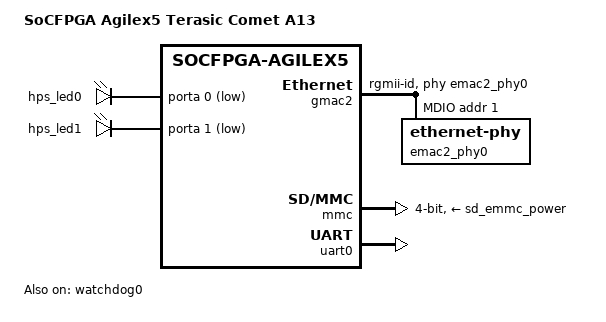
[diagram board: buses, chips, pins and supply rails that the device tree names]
// SPDX-License-Identifier: GPL-2.0-only
/*
 * Copyright (C) 2025, Altera Corporation
 */
#include "socfpga_agilex5.dtsi"

/ {
	model = "SoCFPGA Agilex5 Terasic Comet A13";
	compatible = "intel,socfpga-agilex5-socdk-013b", "intel,socfpga-agilex5";

	aliases {
		serial0 = &uart0;
		ethernet0 = &gmac2;
	};

	chosen {
		stdout-path = "serial0:115200n8";
	};

	leds {
		compatible = "gpio-leds";

		led0 {
			label = "hps_led0";
			gpios = <&porta 0 GPIO_ACTIVE_LOW>;
		};

		led1 {
			label = "hps_led1";
			gpios = <&porta 1 GPIO_ACTIVE_LOW>;
		};

	};

	memory@80000000 {
		device_type = "memory";
		/* We expect the bootloader to fill in the reg */
		reg = <0x0 0x80000000 0x0 0x0>;
	};
};

&gmac2 {
	status = "okay";
	phy-mode = "rgmii-id";
	phy-handle = <&emac2_phy0>;
	max-frame-size = <9000>;

	mdio0 {
		#address-cells = <1>;
		#size-cells = <0>;
		compatible = "snps,dwmac-mdio";

		emac2_phy0: ethernet-phy@0 {
			reg = <1>;
			rxc-skew-ps = <0>;
			rxdv-skew-ps = <0>;
			rxd0-skew-ps = <0>;
			rxd1-skew-ps = <0>;
			rxd2-skew-ps = <0>;
			rxd3-skew-ps = <0>;
			txc-skew-ps = <0>;
			txen-skew-ps = <60>;
			txd0-skew-ps = <60>;
			txd1-skew-ps = <60>;
			txd2-skew-ps = <60>;
			txd3-skew-ps = <60>;
		};
	};
};

&gpio0 {
	status = "okay";
};

&gpio1 {
	status = "okay";
};

&mmc {
	status = "okay";
	no-1-8-v;
	disable-wp;
	cap-sd-highspeed;
	cap-mmc-highspeed;
	bus-width = <4>;
	vmmc-supply = <&sd_emmc_power>;
	max-frequency = <200000000>;
};

&osc1 {
	clock-frequency = <25000000>;
};

&qspi {
	status = "disabled";
	flash@0 {
		compatible = "jedec,spi-nor";
		reg = <0>;
		spi-max-frequency = <100000000>;
		m25p,fast-read;
		cdns,read-delay = <2>;
		cdns,tshsl-ns = <50>;
		cdns,tsd2d-ns = <50>;
		cdns,tchsh-ns = <4>;
		cdns,tslch-ns = <4>;
		spi-tx-bus-width = <4>;
		spi-rx-bus-width = <4>;

		partitions {
			compatible = "fixed-partitions";
			#address-cells = <1>;
			#size-cells = <1>;
			rsu-handle = <&qspi_boot>;

			qspi_boot: partition@0 {
				label = "u-boot";
				reg = <0x0 0x00c00000>;
			};

			root: partition@c00000  {
				label = "root";
				reg = <0x00c00000 0x03400000>;
			};
		};
	};
};

&smmu {
	status = "okay";
};

&uart0 {
	status = "okay";
};

&watchdog0 {
	status = "okay";
};
